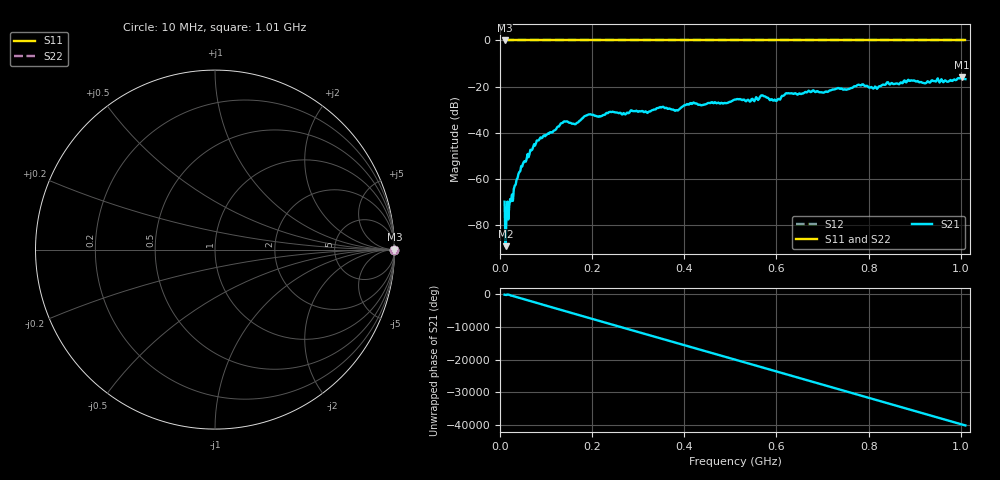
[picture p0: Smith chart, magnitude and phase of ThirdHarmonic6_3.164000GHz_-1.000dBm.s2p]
! 8/17/2025 9:30:36 AM
! C:\ANRITSUVNA\TEMP\TEMP.S2P
! CHANNEL.1
! TR.MEASUREMENT
! RAW.DATA
! RF.CORRECTION.OFF
! AVERAGING.OFF
! IF.BANDWIDTH: 5KHZ
! SWEEPTYPE:  FREQ.SWEEP(Linear)
! Reference Plane Port Info
! PORT:  PORT1  PORT2
! DISTANCE:  0  m  0  m
! TIME:  0  s  0  s
! PHASE.OFFSET:  0  deg.  0  deg.
! LOSS:  0  dB  0  dB
! REF.LOSS:  0  dB  0  dB
! REF.FREQ:  0  Hz  0  Hz
! Power Info
! POWER:  -20  dBm  -20  dBm
! EFF.POWER:  -20  dBm  -20  dBm
! SOURCE.ATTEN:  0  dB  0  dB
! TEST.ATTEN:  0  dB  0  dB
# GHZ S RI R 50.0
! FREQ.GHZ  S11RE  S11IM  S21RE  S21IM  S12RE  S12IM  S22RE  S22IM
!; PortSelection: Port_12
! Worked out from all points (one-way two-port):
!   501 points, 10 MHz to 1.01 GHz, reference 50 ohm
!   highest |S21| = -15.92 dB at 1.002 GHz (marker M1); lowest = -89.1 dB at 12 MHz (marker M2)
!   lowest |S11| = 0.0 dB at 10 MHz (marker M3)
!   |S11| at or under -10 dB: nowhere
!   |S22| runs from 0.0 to 0.0 dB; largest |S21 - S12| = 1.2
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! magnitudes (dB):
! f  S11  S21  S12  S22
! 10 MHz  0.0  -69.9  0.0  0.0
! 12 MHz  0.0  -89.1  0.0  0.0
! 16 MHz  0.0  -69.9  0.0  0.0
! 36 MHz  0.0  -60.3  0.0  0.0
! 50 MHz  0.0  -53.4  0.0  0.0
! 84 MHz  0.0  -43.3  0.0  0.0
! 136 MHz  0.0  -35.7  0.0  0.0
! 162 MHz  0.0  -36.2  0.0  0.0
! 178 MHz  0.0  -33.8  0.0  0.0
! 344 MHz  0.0  -29.2  0.0  0.0
! 382 MHz  0.0  -30.3  0.0  0.0
! 416 MHz  0.0  -27.5  0.0  0.0
! 510 MHz  0.0  -25.6  0.0  0.0
! 570 MHz  0.0  -23.8  0.0  0.0
! 596 MHz  0.0  -25.6  0.0  0.0
! 624 MHz  0.0  -22.9  0.0  0.0
! 678 MHz  0.0  -21.8  0.0  0.0
! 784 MHz  0.0  -19.4  0.0  0.0
! 814 MHz  0.0  -20.0  0.0  0.0
! 844 MHz  0.0  -18.8  0.0  0.0
! 1.002 GHz  0.0  -15.9  0.0  0.0
! 1.01 GHz  0.0  -16.8  0.0  0.0
